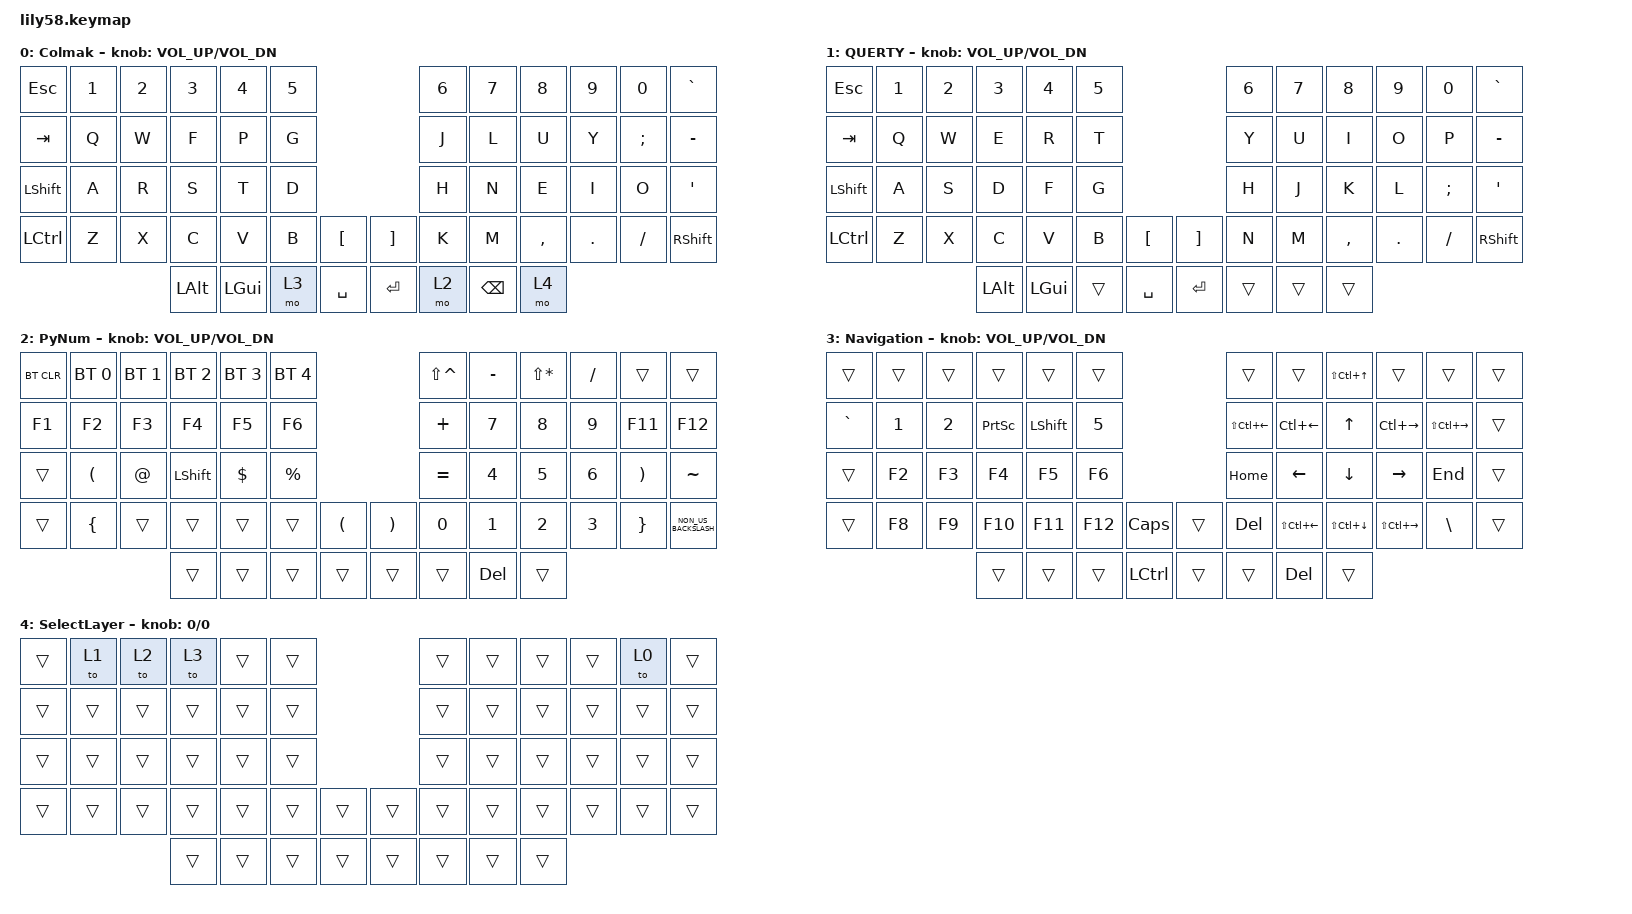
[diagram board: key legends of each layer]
/*
 * Copyright (c) 2020 The ZMK Contributors
 *
 * SPDX-License-Identifier: MIT
 */

#include <behaviors.dtsi>
#include <dt-bindings/zmk/bt.h>
#include <dt-bindings/zmk/keys.h>

/ {
    keymap {
        compatible = "zmk,keymap";

        Colmak {
            // ------------------------------------------------------------------------------------------------------------
            // |  ESC  |  1  |  2  |  3   |  4   |  5   |                   |  6   |  7    |  8    |  9   |   0   |   `   |
            // |  TAB  |  Q  |  W  |  E   |  R   |  T   |                   |  Y   |  U    |  I    |  O   |   P   |   -   |
            // |  CTRL |  A  |  S  |  D   |  F   |  G   |                   |  H   |  J    |  K    |  L   |   ;   |   '   |
            // | SHIFT |  Z  |  X  |  C   |  V   |  B   |   "["  |  |  "]"  |  N   |  M    |  ,    |  .   |   /   | SHIFT |
            //                     | ALT  | GUI  | LOWER|  SPACE |  | ENTER | RAISE| BSPC  | GUI   |

            display-name = "Colmak";
            bindings = <
&kp ESC    &kp N1  &kp N2  &kp N3        &kp N4    &kp N5                         &kp N6  &kp N7    &kp N8     &kp N9   &kp N0    &kp GRAVE
&kp TAB    &kp Q   &kp W   &kp F         &kp P     &kp G                          &kp J   &kp L     &kp U      &kp Y    &kp SEMI  &kp MINUS
&kp LSHFT  &kp A   &kp R   &kp S         &kp T     &kp D                          &kp H   &kp N     &kp E      &kp I    &kp O     &kp SQT
&kp LCTRL  &kp Z   &kp X   &kp C         &kp V     &kp B   &kp LBKT     &kp RBKT  &kp K   &kp M     &kp COMMA  &kp DOT  &kp FSLH  &kp RSHFT
                           &kp LEFT_ALT  &kp LGUI  &mo 3   &kp SPACE    &kp RET   &mo 2   &kp BSPC  &mo 4
            >;

            sensor-bindings = <&inc_dec_kp C_VOL_UP C_VOL_DN>;
        };

        QUERTY {
            bindings = <
&kp ESC    &kp N1  &kp N2  &kp N3    &kp N4    &kp N5                          &kp N6  &kp N7  &kp N8     &kp N9   &kp N0    &kp GRAVE
&kp TAB    &kp Q   &kp W   &kp E     &kp R     &kp T                           &kp Y   &kp U   &kp I      &kp O    &kp P     &kp MINUS
&kp LSHFT  &kp A   &kp S   &kp D     &kp F     &kp G                           &kp H   &kp J   &kp K      &kp L    &kp SEMI  &kp APOS
&kp LCTRL  &kp Z   &kp X   &kp C     &kp V     &kp B   &kp LBKT     &kp RBKT   &kp N   &kp M   &kp COMMA  &kp DOT  &kp FSLH  &kp RSHFT
                           &kp LALT  &kp LGUI  &trans  &kp SPACE    &kp ENTER  &trans  &trans  &trans
            >;

            sensor-bindings = <&inc_dec_kp C_VOL_UP C_VOL_DN>;
            label = "QUERTY";
        };

        py_num {
            // ------------------------------------------------------------------------------------------------------------
            // |  ESC  |  1  |  2  |  3   |  4   |  5   |                   |  6   |  7    |  8    |  9   |   0   |   `   |
            // |  TAB  |  Q  |  W  |  E   |  R   |  T   |                   |  Y   |  U    |  I    |  O   |   P   |   -   |
            // |  CTRL |  A  |  S  |  D   |  F   |  G   |                   |  H   |  J    |  K    |  L   |   ;   |   '   |
            // | SHIFT |  Z  |  X  |  C   |  V   |  B   |   "["  |  |  "]"  |  N   |  M    |  ,    |  .   |   /   | SHIFT |
            //                     | ALT  | GUI  | LOWER|  SPACE |  | ENTER | RAISE| BSPC  | GUI   |

            display-name = "PyNum";
            bindings = <
&bt BT_CLR  &bt BT_SEL 0          &bt BT_SEL 1  &bt BT_SEL 2    &bt BT_SEL 3  &bt BT_SEL 4                                                 &kp LS(CARET)  &kp MINUS  &kp LS(STAR)  &kp FSLH  &trans    &trans
&kp F1      &kp F2                &kp F3        &kp F4          &kp F5        &kp F6                                                       &kp PLUS       &kp N7     &kp N8        &kp N9    &kp F11   &kp F12
&trans      &kp LEFT_PARENTHESIS  &kp AT        &kp LEFT_SHIFT  &kp DOLLAR    &kp PRCNT                                                    &kp EQUAL      &kp N4     &kp N5        &kp N6    &kp RPAR  &kp TILDE
&trans      &kp LEFT_BRACE        &trans        &trans          &trans        &trans        &kp LEFT_PARENTHESIS    &kp RIGHT_PARENTHESIS  &kp N0         &kp N1     &kp N2        &kp N3    &kp RBRC  &kp NON_US_BACKSLASH
                                                &trans          &trans        &trans        &trans                  &trans                 &trans         &kp DEL    &trans
            >;

            sensor-bindings = <&inc_dec_kp C_VOL_UP C_VOL_DN>;
        };

        navigate {
            // ------------------------------------------------------------------------------------------------------------
            // | BTCLR | BT1 | BT2 |  BT3 |  BT4 |  BT5 |                   |      |       |       |      |       |       |
            // |  F1   |  F2 |  F3 |  F4  |  F5  |  F6  |                   |  F7  |  F8   |  F9   |  F10 |  F11  |  F12  |
            // |   `   |  !  |  @  |  #   |  $   |  %   |                   |  ^   |  &    |  *    |  (   |   )   |   ~   |
            // |       |     |     |      |      |      |        |  |       |      |  _    |  +    |  {   |   }   |  "|"  |
            //                     |      |      |      |        |  |       |      |       |       |

            display-name = "Navigation";
            bindings = <
&trans     &trans  &trans  &trans     &trans      &trans                           &trans            &trans              &kp LS(LC(UP))    &trans             &trans             &trans
&kp GRAVE  &kp N1  &kp N2  &kp PSCRN  &kp LSHIFT  &kp N5                           &kp LS(LC(LEFT))  &kp LC(LEFT_ARROW)  &kp UP            &kp LC(RIGHT)      &kp LS(LC(RIGHT))  &trans
&trans     &kp F2  &kp F3  &kp F4     &kp F5      &kp F6                           &kp HOME          &kp LEFT            &kp DOWN          &kp RIGHT          &kp END            &trans
&trans     &kp F8  &kp F9  &kp F10    &kp F11     &kp F12  &kp CAPSLOCK    &trans  &kp DEL           &kp LS(LC(LEFT))    &kp LS(LC(DOWN))  &kp LS(LC(RIGHT))  &kp BACKSLASH      &trans
                           &trans     &trans      &trans   &kp LCTRL       &trans  &trans            &kp DEL             &trans
            >;

            sensor-bindings = <&inc_dec_kp C_VOL_UP C_VOL_DN>;
        };

        SelectLayer {
            bindings = <
&trans  &to 1   &to 2   &to 3   &trans  &trans                    &trans  &trans  &trans  &trans  &to 0   &trans
&trans  &trans  &trans  &trans  &trans  &trans                    &trans  &trans  &trans  &trans  &trans  &trans
&trans  &trans  &trans  &trans  &trans  &trans                    &trans  &trans  &trans  &trans  &trans  &trans
&trans  &trans  &trans  &trans  &trans  &trans  &trans    &trans  &trans  &trans  &trans  &trans  &trans  &trans
                        &trans  &trans  &trans  &trans    &trans  &trans  &trans  &trans
            >;

            sensor-bindings = <&inc_dec_kp 0 0>;
            label = "SelectLayer";
        };
    };
};
